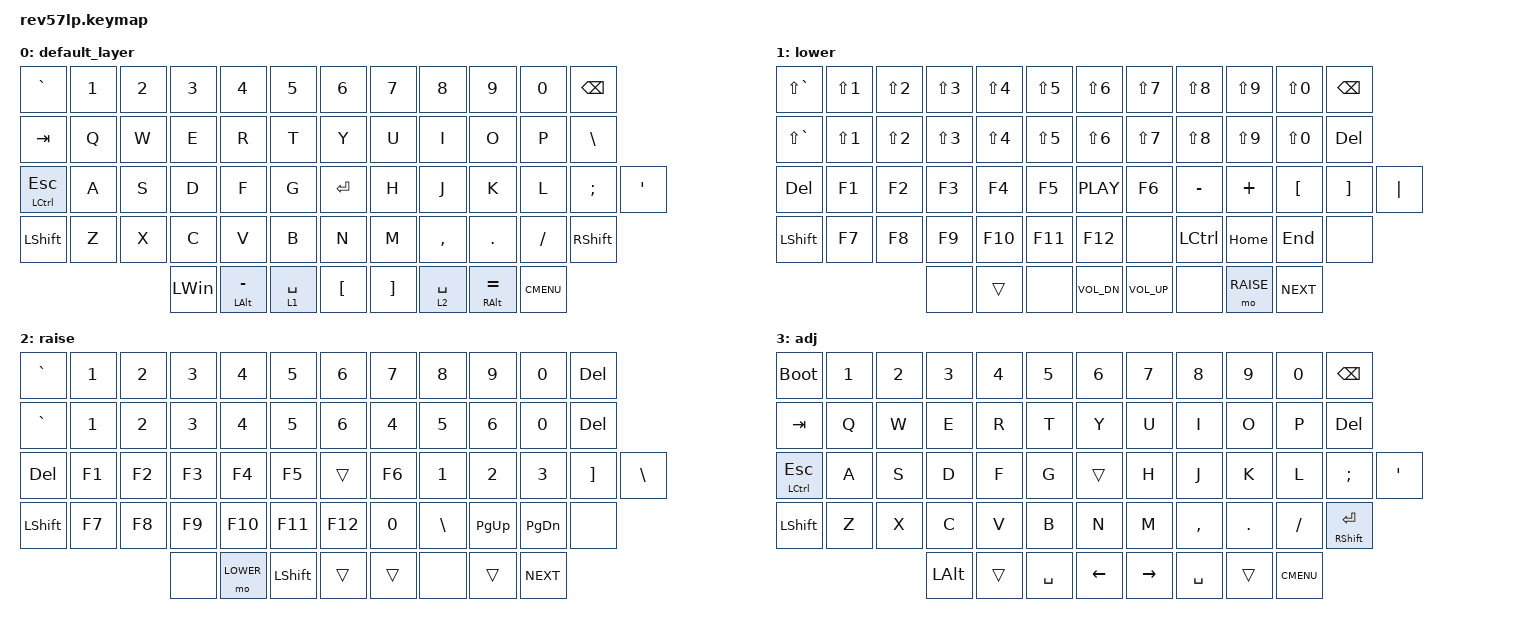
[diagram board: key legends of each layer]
/*
 * Copyright (c) 2022 The ZMK Contributors
 *
 * SPDX-License-Identifier: MIT
 */

#include <behaviors.dtsi>
#include <dt-bindings/zmk/keys.h>

#define DEFAULT 0
#define LOWER   1
#define RAISE   2

/ {
    conditional_layers { compatible = "zmk,conditional-layers"; };

    keymap {
        compatible = "zmk,keymap";

        default_layer {
            //  -------------------------------------------------------------------------------------------------
            // |  GRAV |  1   |  2   |  3   |  4    |  5     |   6     |  7     |  8   |  9    |   0   | BSPC   |
            // |  TAB  |  Q   |  W   |  E   |  R    |  T     |   Y     |  U     |  I   |  O    |   P   | DEL    |
            // |  ESC  |  A   |  S   |  D   |  F    |  G     |   H     |  J     |  K   |  L    |   ;   |  '     |
            // | SHIFT |  Z   |  X   |  C   |  V    |  B     |   N     |  M     |  ,   |  .    |   /   | RET    |
            // |       | LGUI | LALT | LCTL | LOWER | SPACE  |  SPACE  |  RAISE | LEFT |  DOWN |   UP  | RIGHT  |

            bindings = <
&kp GRAVE      &kp N1  &kp N2  &kp N3        &kp N4              &kp N5       &kp N6            &kp N7             &kp N8       &kp N9               &kp N0       &kp BSPC
&kp TAB        &kp Q   &kp W   &kp E         &kp R               &kp T        &kp Y             &kp U              &kp I        &kp O                &kp P        &kp BACKSLASH
&mt LCTRL ESC  &kp A   &kp S   &kp D         &kp F               &kp G        &kp RET           &kp H              &kp J        &kp K                &kp L        &kp SEMI       &kp SQT
&kp LSHIFT     &kp Z   &kp X   &kp C         &kp V               &kp B        &kp N             &kp M              &kp COMMA    &kp DOT              &kp SLASH    &kp RSHIFT
                               &kp LEFT_WIN  &mt LEFT_ALT MINUS  &lt 1 SPACE  &kp LEFT_BRACKET  &kp RIGHT_BRACKET  &lt 2 SPACE  &mt RIGHT_ALT EQUAL  &kp K_CMENU
            >;
        };

        lower {
            // ------------------------------------------------------------------------------------------
            // |   ~   |  !   |  @   |  #   |  $   |  %   |   ^   |   &   |   *  |  (   |   )   | BSPC  |
            // |   ~   |  !   |  @   |  #   |  $   |  %   |   ^   |   &   |   *  |  (   |   )   | DEL   |
            // |  DEL  |  F1  |  F2  |  F3  |  F4  |  F5  |  F6   |   -   |   +  |  [   |   ]   |  |    |
            // |       |  F7  |  F8  |  F9  |  F10 |  F11 |  F12  |       | LCTL | HOME |  END  |       |
            // | LALT  |      |      |      |      |      |       |       | NEXT | VOL- | VOL+  | PLAY  |

            bindings = <
&kp LS(GRAVE)  &kp LS(N1)  &kp LS(N2)  &kp LS(N3)  &kp LS(N4)  &kp LS(N5)  &kp LS(N6)    &kp LS(N7)    &kp LS(N8)  &kp LS(N9)  &kp LS(N0)        &kp BSPC
&kp LS(GRAVE)  &kp LS(N1)  &kp LS(N2)  &kp LS(N3)  &kp LS(N4)  &kp LS(N5)  &kp LS(N6)    &kp LS(N7)    &kp LS(N8)  &kp LS(N9)  &kp LS(N0)        &kp DEL
&kp DEL        &kp F1      &kp F2      &kp F3      &kp F4      &kp F5      &kp C_PLAY    &kp F6        &kp MINUS   &kp PLUS    &kp LEFT_BRACKET  &kp RIGHT_BRACKET  &kp PIPE
&kp LSHIFT     &kp F7      &kp F8      &kp F9      &kp F10     &kp F11     &kp F12       &none         &kp LCTRL   &kp HOME    &kp END           &none
                                       &none       &trans      &none       &kp C_VOL_DN  &kp C_VOL_UP  &none       &mo RAISE   &kp C_NEXT
            >;
        };

        raise {
            // -------------------------------------------------------------------------------------------
            // |   `   |  1   |  2   |  3   |  4   |   5   |   6   |   7   |   8  |  9   |   0   | BSPC  |
            // |   `   |  1   |  2   |  3   |  4   |   5   |   6   |   7   |   8  |  9   |   0   | DEL   |
            // |  DEL  |  F1  |  F2  |  F3  |  F4  |  F5   |  F6   |   -   |   =  |  [   |   ]   |  \    |
            // |       |  F7  |  F8  |  F9  |  F10 |  F11  |  F12  |   #   |   \  | PGUP |  PGDN |       |
            // |       |      |      |      |      | SHIFT |       |       | NEXT | VOL- |  VOL+ | PLAY  |

            bindings = <
&kp GRAVE   &kp N1  &kp N2  &kp N3  &kp N4     &kp N5      &kp N6   &kp N7        &kp N8        &kp N9        &kp N0        &kp DEL
&kp GRAVE   &kp N1  &kp N2  &kp N3  &kp N4     &kp N5      &kp N6   &kp NUMBER_4  &kp N5        &kp NUMBER_6  &kp N0        &kp DEL
&kp DEL     &kp F1  &kp F2  &kp F3  &kp F4     &kp F5      &trans   &kp F6        &kp NUMBER_1  &kp NUMBER_2  &kp NUMBER_3  &kp RIGHT_BRACKET  &kp BSLH
&kp LSHIFT  &kp F7  &kp F8  &kp F9  &kp F10    &kp F11     &kp F12  &kp N0        &kp BSLH      &kp PG_UP     &kp PG_DN     &none
                            &none   &mo LOWER  &kp LSHIFT  &trans   &trans        &none         &trans        &kp C_NEXT
            >;
        };

        adj {
            //  -------------------------------------------------------------------------------------------------
            // |  GRAV |  1   |  2   |  3   |  4    |  5     |   6     |  7     |  8   |  9    |   0   | BSPC   |
            // |  TAB  |  Q   |  W   |  E   |  R    |  T     |   Y     |  U     |  I   |  O    |   P   | DEL    |
            // |  ESC  |  A   |  S   |  D   |  F    |  G     |   H     |  J     |  K   |  L    |   ;   |  '     |
            // | SHIFT |  Z   |  X   |  C   |  V    |  B     |   N     |  M     |  ,   |  .    |   /   | RET    |
            // |       | LGUI | LALT | LCTL | LOWER | SPACE  |  SPACE  |  RAISE | LEFT |  DOWN |   UP  | RIGHT  |

            bindings = <
&bootloader   &kp N1  &kp N2  &kp N3    &kp N4  &kp N5     &kp N6    &kp N7     &kp N8     &kp N9   &kp N0       &kp BSPC
&kp TAB       &kp Q   &kp W   &kp E     &kp R   &kp T      &kp Y     &kp U      &kp I      &kp O    &kp P        &kp DEL
&mt LCTL ESC  &kp A   &kp S   &kp D     &kp F   &kp G      &trans    &kp H      &kp J      &kp K    &kp L        &kp SEMI        &kp SQT
&kp LSHIFT    &kp Z   &kp X   &kp C     &kp V   &kp B      &kp N     &kp M      &kp COMMA  &kp DOT  &kp SLASH    &mt RSHIFT RET
                              &kp LALT  &trans  &kp SPACE  &kp LEFT  &kp RIGHT  &kp SPACE  &trans   &kp K_CMENU
            >;
        };
    };
};
